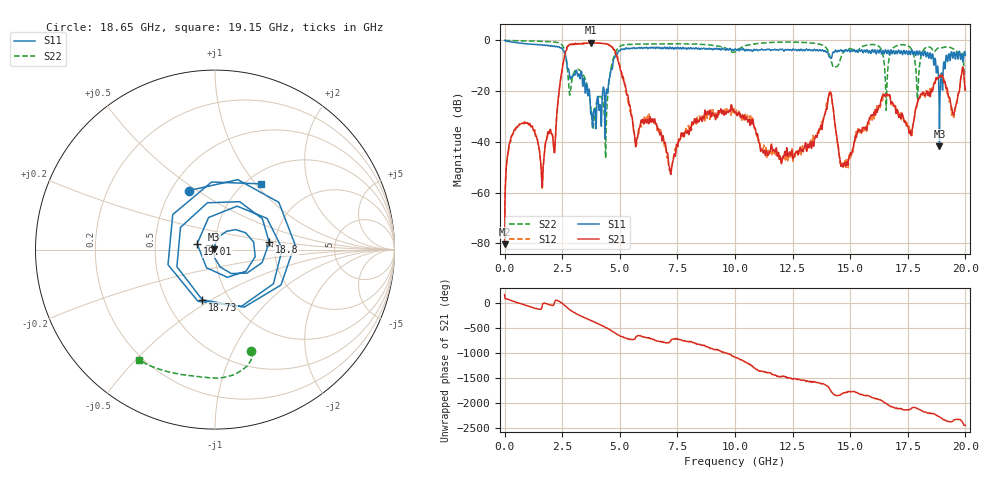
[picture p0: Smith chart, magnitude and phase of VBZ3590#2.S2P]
!Agilent Technologies,E5071C,MY46215201,A.10.06
!Date: Mon Nov 18 15:37:31 2019
!Data & Calibration Information:
!Freq	S11:SOLT2(ON)	S21:SOLT2(ON)	S12:SOLT2(ON)	S22:SOLT2(ON)
!PortZ  Port1:50+j0  Port2:50+j0
!Above PortZ is port z conversion or system Z0 setting when saving the data.
!When reading, reference impedance value at option line is always used.
# Hz S dB R 50
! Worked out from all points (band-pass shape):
!   1601 points, 300 kHz to 20 GHz, reference 50 ohm
!   highest |S21| = -0.91 dB at 3.738 GHz (marker M1); lowest = -80.3 dB at 300 kHz (marker M2)
!   |S21| within 3 dB of the highest: 2.678 GHz to 4.79 GHz (2.112 GHz wide, 56.6 % of centre)
!   lowest |S11| = -41.7 dB at 18.88 GHz (marker M3), VSWR 1.02, Z = 49.2 + j0.268 ohm
!   |S11| at or under -10 dB: 2.71 GHz to 4.693 GHz (1.982 GHz wide, 53.6 % of centre); 18.72 GHz to 19.05 GHz (326.4 MHz wide, 1.73 % of centre); 19.0963 GHz to 19.127 GHz (30.7 MHz wide, 0.161 % of centre)
!   |S22| runs from -46.4 to 0.0 dB; largest |S21 - S12| = 0.088
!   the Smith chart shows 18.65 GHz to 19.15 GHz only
!   S11 on the Smith chart (normalised r, x): 18.65 GHz: 0.61, +0.46; 18.73 GHz: 0.75, -0.46; 18.8 GHz: 1.86, +0.17; 19.01 GHz: 0.82, +0.05; 19.15 GHz: 1.17, +1.07
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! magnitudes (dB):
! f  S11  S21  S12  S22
! 300 kHz  0.0  -80.3  -81.1  0.0
! 362.8 MHz  -0.6  -36.6  -36.7  0.0
! 1.65 GHz  -1.9  -54.9  -56.2  -0.4
! 2.663 GHz  -6.7  -4.2  -3.9  -6.6
! 3.338 GHz  -12.3  -1.4  -1.3  -12.4
! 3.738 GHz  -29.0  -0.9  -1.0  -26.1
! 5.688 GHz  -3.1  -42.0  -39.3  -1.5
! 6.675 GHz  -3.1  -34.9  -34.6  -1.4
! 7.213 GHz  -3.0  -52.8  -52.6  -1.3
! 10 GHz  -3.3  -28.5  -28.6  -4.5
! 13.34 GHz  -3.7  -41.6  -40.1  -1.0
! 14.13 GHz  -6.5  -20.6  -19.8  -6.4
! 14.8 GHz  -3.7  -49.5  -48.7  -3.7
! 16.68 GHz  -4.5  -21.5  -22.4  -7.8
! 17.61 GHz  -5.6  -35.7  -35.8  -2.8
! 18.65 GHz  -8.9  -16.9  -16.6  -4.4
! 18.73 GHz  -10.8  -14.7  -15.3  -3.7
! 18.8 GHz  -10.3  -14.8  -15.1  -3.0
! 18.88 GHz  -41.7  -14.1  -13.8  -2.9
! 19.01 GHz  -19.6  -13.8  -13.8  -2.8
! 19.15 GHz  -7.0  -18.7  -16.9  -2.6
! 20 GHz  -5.8  -19.6  -19.9  -12.0
